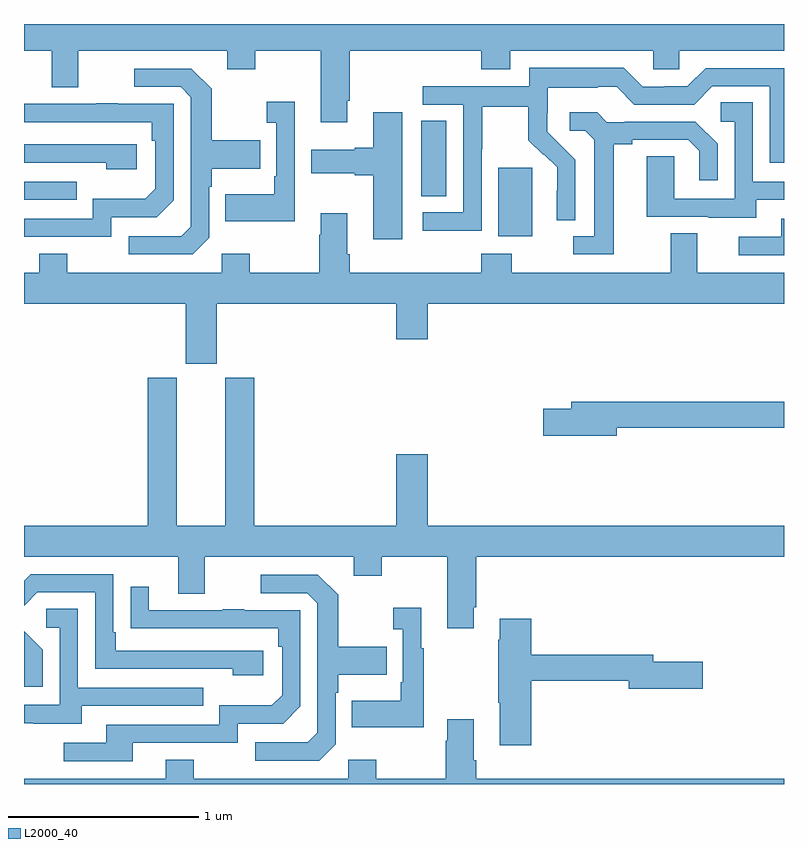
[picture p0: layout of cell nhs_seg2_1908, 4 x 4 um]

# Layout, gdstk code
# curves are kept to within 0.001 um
import gdstk
lib = gdstk.Library(unit=1e-6, precision=1e-09)
def R(c, l, rs):  # rectangles x0, y0, x1, y1
    for r in rs: c.add(gdstk.rectangle(r[:2], r[2:], *l))
def P(c, l, *ps):  # polygons
    for p in ps: c.add(gdstk.Polygon(p, *l))
L2000_40 = (2000, 40)

nhs_seg2_1908 = lib.new_cell('nhs_seg2_1908')
R(nhs_seg2_1908, L2000_40, [(213.497,622.682,213.676,623.043), (211,622.875,211.277,622.971), (213.092,622.894,213.223,623.291)])
P(nhs_seg2_1908, L2000_40, [(212.701,623.395),(212.714,623.395),(212.714,623.66),(213.407,623.66),(213.407,623.561),(213.559,623.561),(213.559,623.66),(214.311,623.66),(214.311,623.562),(214.449,623.562),(214.449,623.66),(215,623.66),(215,623.8),(211,623.8),(211,623.66),(211.145,623.66),(211.145,623.466),(211.285,623.466),(211.285,623.66),(212.069,623.66),(212.069,623.561),(212.217,623.561),(212.217,623.66),(212.561,623.66),(212.561,623.283),(212.701,623.283)],
  [(213.408,623.14),(213.411,623.14),(213.411,623.364),(213.655,623.364),(213.655,623.189),(213.732,623.112),(213.735,623.115),(213.806,623.045),(213.806,622.922),(213.804,622.922),(213.804,622.768),(213.9,622.768),(213.9,623.086),(213.754,623.234),(213.754,623.331),(213.756,623.331),(213.756,623.465),(214.019,623.465),(214.019,623.469),(214.119,623.469),(214.212,623.376),(214.527,623.376),(214.623,623.472),(214.926,623.472),(214.926,623.07),(215,623.07),(215,623.568),(214.587,623.568),(214.491,623.472),(214.373,623.472),(214.373,623.469),(214.257,623.469),(214.157,623.569),(213.66,623.569),(213.66,623.472),(213.099,623.472),(213.099,623.376),(213.312,623.376),(213.312,622.809),(213.099,622.809),(213.099,622.711),(213.408,622.711)],
  [(211.974,622.674),(211.974,622.943),(211.987,622.943),(211.987,623.039),(212.243,623.039),(212.243,623.187),(211.987,623.187),(211.987,623.459),(211.881,623.565),(211.581,623.565),(211.581,623.469),(211.824,623.469),(211.878,623.415),(211.878,622.734),(211.827,622.683),(211.551,622.683),(211.551,622.587),(211.887,622.587)],
  [(212.424,623.392),(212.277,623.392),(212.277,623.279),(212.328,623.279),(212.328,622.999),(212.316,622.999),(212.316,622.903),(212.059,622.903),(212.059,622.763),(212.424,622.763)],
  [(214.855,622.875),(215,622.875),(215,622.971),(214.836,622.971),(214.836,623.387),(214.668,623.387),(214.668,623.286),(214.74,623.286),(214.74,622.881),(214.422,622.881),(214.422,623.105),(214.277,623.105),(214.277,622.785),(214.601,622.785),(214.601,622.781),(214.855,622.781)],
  [(211.458,622.782),(211.698,622.782),(211.788,622.872),(211.788,623.379),(211.493,623.379),(211.493,623.384),(211.381,623.384),(211.381,623.379),(211,623.379),(211,623.283),(211.672,623.283),(211.672,623.186),(211.692,623.186),(211.692,622.932),(211.639,622.879),(211.362,622.879),(211.362,622.776),(211,622.776),(211,622.68),(211.458,622.68)],
  [(212.992,623.335),(212.837,623.335),(212.837,623.15),(212.741,623.15),(212.741,623.137),(212.511,623.137),(212.511,623.015),(212.741,623.015),(212.741,623.003),(212.837,623.003),(212.837,622.668),(212.992,622.668)],
  [(214.105,623.168),(214.201,623.168),(214.201,623.19),(214.496,623.19),(214.553,623.133),(214.553,622.977),(214.65,622.977),(214.65,623.17),(214.534,623.286),(214.162,623.286),(214.162,623.283),(214.068,623.283),(214.016,623.335),(213.873,623.335),(213.873,623.238),(213.954,623.238),(214.001,623.191),(214.001,622.683),(213.891,622.683),(213.891,622.587),(214.105,622.587)],
  [(211.594,623.166),(211,623.166),(211,623.07),(211.433,623.07),(211.433,623.036),(211.594,623.036)],
  [(212.014,622.328),(212.96,622.328),(212.96,622.14),(213.124,622.14),(213.124,622.328),(215,622.328),(215,622.492),(214.543,622.492),(214.543,622.7),(214.403,622.7),(214.403,622.492),(213.567,622.492),(213.567,622.591),(213.407,622.591),(213.407,622.492),(212.714,622.492),(212.714,622.588),(212.701,622.588),(212.701,622.804),(212.561,622.804),(212.561,622.691),(212.554,622.691),(212.554,622.492),(212.187,622.492),(212.187,622.591),(212.04,622.591),(212.04,622.492),(211.227,622.492),(211.227,622.591),(211.079,622.591),(211.079,622.492),(211,622.492),(211,622.328),(211.85,622.328),(211.85,622.011),(212.014,622.011)],
  [(215,622.776),(214.985,622.776),(214.985,622.68),(214.761,622.68),(214.761,622.584),(215,622.584)],
  [(213.367,620.731),(213.38,620.731),(213.38,620.996),(215,620.996),(215,621.16),(213.124,621.16),(213.124,621.535),(212.96,621.535),(212.96,621.16),(212.213,621.16),(212.213,621.939),(212.06,621.939),(212.06,621.16),(211.804,621.16),(211.804,621.939),(211.652,621.939),(211.652,621.16),(211,621.16),(211,620.996),(211.811,620.996),(211.811,620.802),(211.951,620.802),(211.951,620.996),(212.735,620.996),(212.735,620.897),(212.883,620.897),(212.883,620.996),(213.227,620.996),(213.227,620.619),(213.367,620.619)],
  [(214.12,621.676),(215,621.676),(215,621.812),(213.881,621.812),(213.881,621.776),(213.732,621.776),(213.732,621.634),(214.12,621.634)],
  [(212.26,620.502),(211.483,620.502),(211.483,620.599),(211.47,620.599),(211.47,620.904),(211.035,620.904),(211,620.869),(211,620.737),(211.071,620.808),(211.374,620.808),(211.374,620.406),(212.099,620.406),(212.099,620.372),(212.26,620.372)],
  [(212.64,620.01),(212.64,620.279),(212.653,620.279),(212.653,620.375),(212.909,620.375),(212.909,620.523),(212.653,620.523),(212.653,620.795),(212.547,620.901),(212.247,620.901),(212.247,620.805),(212.49,620.805),(212.544,620.751),(212.544,620.07),(212.493,620.019),(212.217,620.019),(212.217,619.923),(212.553,619.923)],
  [(211.573,620.016),(212.124,620.016),(212.124,620.118),(212.364,620.118),(212.454,620.208),(212.454,620.715),(212.159,620.715),(212.159,620.72),(212.047,620.72),(212.047,620.715),(211.657,620.715),(211.657,620.839),(211.561,620.839),(211.561,620.62),(212.338,620.619),(212.338,620.522),(212.358,620.522),(212.358,620.268),(212.305,620.215),(212.028,620.215),(212.028,620.112),(211.433,620.112),(211.433,620.016),(211.209,620.016),(211.209,619.92),(211.573,619.92)],
  [(213.103,620.515),(213.091,620.515),(213.091,620.728),(212.943,620.728),(212.943,620.615),(212.994,620.615),(212.994,620.335),(212.982,620.335),(212.982,620.239),(212.725,620.239),(212.725,620.099),(213.103,620.099)],
  [(211.303,620.211),(211.943,620.211),(211.943,620.307),(211.284,620.307),(211.284,620.723),(211.116,620.723),(211.116,620.622),(211.188,620.622),(211.188,620.217),(211,620.217),(211,620.121),(211.049,620.121),(211.049,620.117),(211.303,620.117)],
  [(213.671,620.344),(214.184,620.344),(214.184,620.302),(214.573,620.302),(214.573,620.444),(214.312,620.444),(214.312,620.48),(213.671,620.48),(213.671,620.671),(213.503,620.671),(213.503,620.558),(213.496,620.558),(213.496,620.227),(213.503,620.227),(213.503,620.004),(213.671,620.004)],
  [(211.098,620.506),(211,620.604),(211,620.47),(211.001,620.469),(211.001,620.313),(211.098,620.313)],
  [(215,619.828),(213.38,619.828),(213.38,619.924),(213.367,619.924),(213.367,620.14),(213.227,620.14),(213.227,620.027),(213.22,620.027),(213.22,619.828),(212.853,619.828),(212.853,619.927),(212.706,619.927),(212.706,619.828),(211.893,619.828),(211.893,619.927),(211.745,619.927),(211.745,619.828),(211,619.828),(211,619.8),(215,619.8)])

lib.write_gds('nhs_seg2_1908.gds')
